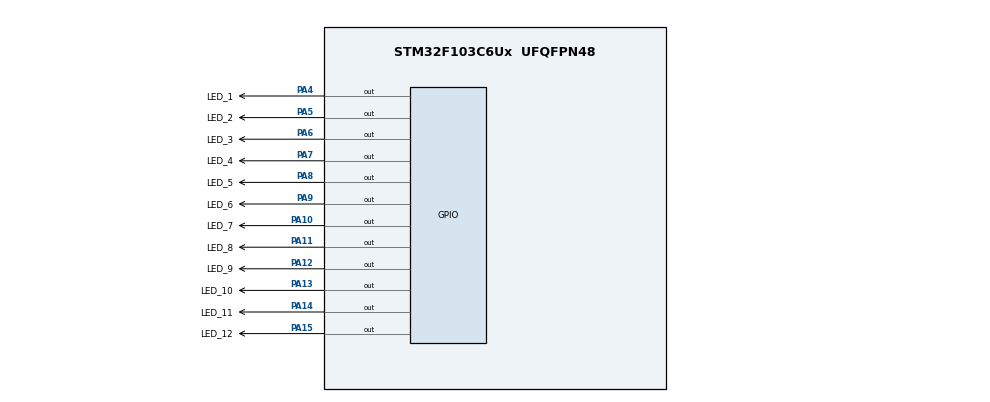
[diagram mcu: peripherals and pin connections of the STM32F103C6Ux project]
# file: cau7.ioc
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Mcu.Family=STM32F1
Mcu.Name=STM32F103C6Ux
Mcu.Package=UFQFPN48
NVIC.PriorityGroup=NVIC_PRIORITYGROUP_4
PA10.GPIO_Label=LED_7
PA10.Signal=GPIO_Output
PA11.GPIO_Label=LED_8
PA11.Signal=GPIO_Output
PA12.GPIO_Label=LED_9
PA12.Signal=GPIO_Output
PA13.GPIO_Label=LED_10
PA13.Signal=GPIO_Output
PA14.GPIO_Label=LED_11
PA14.Signal=GPIO_Output
PA15.GPIO_Label=LED_12
PA15.Signal=GPIO_Output
PA4.GPIO_Label=LED_1
PA4.Signal=GPIO_Output
PA5.GPIO_Label=LED_2
PA5.Signal=GPIO_Output
PA6.GPIO_Label=LED_3
PA6.Signal=GPIO_Output
PA7.GPIO_Label=LED_4
PA7.Signal=GPIO_Output
PA8.GPIO_Label=LED_5
PA8.Signal=GPIO_Output
PA9.GPIO_Label=LED_6
PA9.Signal=GPIO_Output
ProjectManager.HeapSize=0x200
ProjectManager.StackSize=0x400
ProjectManager.TargetToolchain=STM32CubeIDE
RCC.APB1Freq_Value=8000000
RCC.APB2Freq_Value=8000000
board=custom

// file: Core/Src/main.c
/* USER CODE BEGIN Header */
/**
  ******************************************************************************
  * @file           : main.c
  * @brief          : Main program body
  ******************************************************************************
  * @attention
  *
  * Copyright (c) 2022 STMicroelectronics.
  * All rights reserved.
  *
  * This software is licensed under terms that can be found in the LICENSE file
  * in the root directory of this software component.
  * If no LICENSE file comes with this software, it is provided AS-IS.
  *
  ******************************************************************************
  */
/* USER CODE END Header */
#include "main.h"

/* USER CODE BEGIN PV */

int demgiay = 0;
int demphut = 0;
int demgio = 0;

/* USER CODE END PV */

void SystemClock_Config(void);
static void MX_GPIO_Init(void);
/* USER CODE BEGIN PFP */

void setAllClock(int dem)
{
	HAL_GPIO_WritePin(LED_1_GPIO_Port,LED_1_Pin,0);
	HAL_GPIO_WritePin(LED_2_GPIO_Port,LED_2_Pin,0);
	HAL_GPIO_WritePin(LED_3_GPIO_Port,LED_3_Pin,0);
	HAL_GPIO_WritePin(LED_4_GPIO_Port,LED_4_Pin,0);
	HAL_GPIO_WritePin(LED_5_GPIO_Port,LED_5_Pin,0);
	HAL_GPIO_WritePin(LED_6_GPIO_Port,LED_6_Pin,0);
	HAL_GPIO_WritePin(LED_7_GPIO_Port,LED_7_Pin,0);
	HAL_GPIO_WritePin(LED_8_GPIO_Port,LED_8_Pin,0);
	HAL_GPIO_WritePin(LED_9_GPIO_Port,LED_9_Pin,0);
	HAL_GPIO_WritePin(LED_10_GPIO_Port,LED_10_Pin,0);
	HAL_GPIO_WritePin(LED_11_GPIO_Port,LED_11_Pin,0);
	HAL_GPIO_WritePin(LED_12_GPIO_Port,LED_12_Pin,0);
}

void clearAllClock ()
{
	 HAL_GPIO_WritePin(LED_1_GPIO_Port,LED_1_Pin,1);
	 HAL_GPIO_WritePin(LED_2_GPIO_Port,LED_2_Pin,1);
	 HAL_GPIO_WritePin(LED_3_GPIO_Port,LED_3_Pin,1);
	 HAL_GPIO_WritePin(LED_4_GPIO_Port,LED_4_Pin,1);
	 HAL_GPIO_WritePin(LED_5_GPIO_Port,LED_5_Pin,1);
	 HAL_GPIO_WritePin(LED_6_GPIO_Port,LED_6_Pin,1);
	 HAL_GPIO_WritePin(LED_7_GPIO_Port,LED_7_Pin,1);
	 HAL_GPIO_WritePin(LED_8_GPIO_Port,LED_8_Pin,1);
	 HAL_GPIO_WritePin(LED_9_GPIO_Port,LED_9_Pin,1);
	 HAL_GPIO_WritePin(LED_10_GPIO_Port,LED_10_Pin,1);
	 HAL_GPIO_WritePin(LED_11_GPIO_Port,LED_11_Pin,1);
	 HAL_GPIO_WritePin(LED_12_GPIO_Port,LED_12_Pin,1);
}

void setNumberOnClock(int num)
{
	if (num == 0)
	{
		HAL_GPIO_WritePin(LED_1_GPIO_Port,LED_1_Pin,0);
	}
	if (num == 1)
	{
		HAL_GPIO_WritePin(LED_2_GPIO_Port,LED_2_Pin,0);
	}
	if (num == 2)
	{
		HAL_GPIO_WritePin(LED_3_GPIO_Port,LED_3_Pin,0);
	}
	if (num == 3)
	{
		HAL_GPIO_WritePin(LED_4_GPIO_Port,LED_4_Pin,0);
	}
	if (num == 4)
	{
		HAL_GPIO_WritePin(LED_5_GPIO_Port,LED_5_Pin,0);
	}
	if (num == 5)
	{
		HAL_GPIO_WritePin(LED_6_GPIO_Port,LED_6_Pin,0);
	}
	if (num == 6)
	{
		HAL_GPIO_WritePin(LED_7_GPIO_Port,LED_7_Pin,0);
	}
	if (num == 7)
	{
		HAL_GPIO_WritePin(LED_8_GPIO_Port,LED_8_Pin,0);
	}
	if (num == 8)
	{
		HAL_GPIO_WritePin(LED_9_GPIO_Port,LED_9_Pin,0);
	}
	if (num == 9)
	{
		HAL_GPIO_WritePin(LED_10_GPIO_Port,LED_10_Pin,0);
	}
	if (num == 10)
	{
		HAL_GPIO_WritePin(LED_11_GPIO_Port,LED_11_Pin,0);
	}
	if (num == 11)
	{
		HAL_GPIO_WritePin(LED_12_GPIO_Port,LED_12_Pin,0);
	}
}

void clearNumberOnClock(int num)
{
	if (num == 0)
	{
		HAL_GPIO_WritePin(LED_1_GPIO_Port,LED_1_Pin,1);
	}
	if (num == 1)
	{
		HAL_GPIO_WritePin(LED_2_GPIO_Port,LED_2_Pin,1);
	}
	if (num == 2)
	{
		HAL_GPIO_WritePin(LED_3_GPIO_Port,LED_3_Pin,1);
	}
	if (num == 3)
	{
		HAL_GPIO_WritePin(LED_4_GPIO_Port,LED_4_Pin,1);
	}
	if (num == 4)
	{
		HAL_GPIO_WritePin(LED_5_GPIO_Port,LED_5_Pin,1);
	}
	if (num == 5)
	{
		HAL_GPIO_WritePin(LED_6_GPIO_Port,LED_6_Pin,1);
	}
	if (num == 6)
	{
		HAL_GPIO_WritePin(LED_7_GPIO_Port,LED_7_Pin,1);
	}
	if (num == 7)
	{
		HAL_GPIO_WritePin(LED_8_GPIO_Port,LED_8_Pin,1);
	}
	if (num == 8)
	{
		HAL_GPIO_WritePin(LED_9_GPIO_Port,LED_9_Pin,1);
	}
	if (num == 9)
	{
		HAL_GPIO_WritePin(LED_10_GPIO_Port,LED_10_Pin,1);
	}
	if (num == 10)
	{
		HAL_GPIO_WritePin(LED_11_GPIO_Port,LED_11_Pin,1);
	}
	if (num == 11)
	{
		HAL_GPIO_WritePin(LED_12_GPIO_Port,LED_12_Pin,1);
	}
}

void hienthi(int num)
{
	if (num >= 0 && num < 5)
	{
		setNumberOnClock(0);
	}
	if (num >= 5 && num < 10)
	{
		setNumberOnClock(1);
	}
	if (num >= 10 && num < 15)
	{
		setNumberOnClock(2);
	}
	if (num >= 15 && num < 20)
	{
		setNumberOnClock(3);
	}
	if (num >= 20 && num < 25)
	{
		setNumberOnClock(4);
	}
	if (num >= 25 && num < 30)
	{
		setNumberOnClock(5);
	}
	if (num >= 30 && num < 35)
	{
		setNumberOnClock(6);
	}
	if (num >= 35 && num < 40)
	{
		setNumberOnClock(7);
	}
	if (num >= 40 && num < 45)
	{
		setNumberOnClock(8);
	}
	if (num >= 45 && num < 50)
	{
		setNumberOnClock(9);
	}
	if (num >= 50 && num < 55)
	{
		setNumberOnClock(10);
	}
	if (num >= 55 && num < 60)
	{
		setNumberOnClock(11);
	}
}

/* USER CODE END PFP */

int main(void)
{

  /* MCU Configuration--------------------------------------------------------*/

  /* Reset of all peripherals, Initializes the Flash interface and the Systick. */
  HAL_Init();

  /* Configure the system clock */
  SystemClock_Config();

  /* Initialize all configured peripherals */
  MX_GPIO_Init();

  /* Infinite loop */
  /* USER CODE BEGIN WHILE */
  while (1)
  {
	  clearAllClock();

	  hienthi(demgiay++);		// hien thi kim giay

	  if (demgiay == 60)
	  {
		  demgiay = 0;
		  demphut++;
	  }

	  hienthi(demphut);		// hien thi kim phut

	  if (demphut == 60)
	  {
		  demphut = 0;
		  demgio++;
	  }

	  hienthi (demgio * 5);	// hien thi kim gio

	  if (demgio == 12)
		  demgio = 0;

	  HAL_Delay (1000);
    /* USER CODE END WHILE */

  }
}

void SystemClock_Config(void)
{
  RCC_OscInitTypeDef RCC_OscInitStruct = {0};
  RCC_ClkInitTypeDef RCC_ClkInitStruct = {0};

  /** Initializes the RCC Oscillators according to the specified parameters
  * in the RCC_OscInitTypeDef structure.
  */
  RCC_OscInitStruct.OscillatorType = RCC_OSCILLATORTYPE_HSI;
  RCC_OscInitStruct.HSIState = RCC_HSI_ON;
  RCC_OscInitStruct.HSICalibrationValue = RCC_HSICALIBRATION_DEFAULT;
  RCC_OscInitStruct.PLL.PLLState = RCC_PLL_NONE;
  if (HAL_RCC_OscConfig(&RCC_OscInitStruct) != HAL_OK)
  {
    Error_Handler();
  }

  /** Initializes the CPU, AHB and APB buses clocks
  */
  RCC_ClkInitStruct.ClockType = RCC_CLOCKTYPE_HCLK|RCC_CLOCKTYPE_SYSCLK
                              |RCC_CLOCKTYPE_PCLK1|RCC_CLOCKTYPE_PCLK2;
  RCC_ClkInitStruct.SYSCLKSource = RCC_SYSCLKSOURCE_HSI;
  RCC_ClkInitStruct.AHBCLKDivider = RCC_SYSCLK_DIV1;
  RCC_ClkInitStruct.APB1CLKDivider = RCC_HCLK_DIV1;
  RCC_ClkInitStruct.APB2CLKDivider = RCC_HCLK_DIV1;

  if (HAL_RCC_ClockConfig(&RCC_ClkInitStruct, FLASH_LATENCY_0) != HAL_OK)
  {
    Error_Handler();
  }
}

static void MX_GPIO_Init(void)
{
  GPIO_InitTypeDef GPIO_InitStruct = {0};

  /* GPIO Ports Clock Enable */
  __HAL_RCC_GPIOA_CLK_ENABLE();

  /*Configure GPIO pin Output Level */
  HAL_GPIO_WritePin(GPIOA, LED_1_Pin|LED_2_Pin|LED_3_Pin|LED_4_Pin
                          |LED_5_Pin|LED_6_Pin|LED_7_Pin|LED_8_Pin
                          |LED_9_Pin|LED_10_Pin|LED_11_Pin|LED_12_Pin, GPIO_PIN_RESET);

  /*Configure GPIO pins : LED_1_Pin LED_2_Pin LED_3_Pin LED_4_Pin
                           LED_5_Pin LED_6_Pin LED_7_Pin LED_8_Pin
                           LED_9_Pin LED_10_Pin LED_11_Pin LED_12_Pin */
  GPIO_InitStruct.Pin = LED_1_Pin|LED_2_Pin|LED_3_Pin|LED_4_Pin
                          |LED_5_Pin|LED_6_Pin|LED_7_Pin|LED_8_Pin
                          |LED_9_Pin|LED_10_Pin|LED_11_Pin|LED_12_Pin;
  GPIO_InitStruct.Mode = GPIO_MODE_OUTPUT_PP;
  GPIO_InitStruct.Pull = GPIO_NOPULL;
  GPIO_InitStruct.Speed = GPIO_SPEED_FREQ_LOW;
  HAL_GPIO_Init(GPIOA, &GPIO_InitStruct);

}

void Error_Handler(void)
{
  __disable_irq();
  while (1)
  {
  }
}
